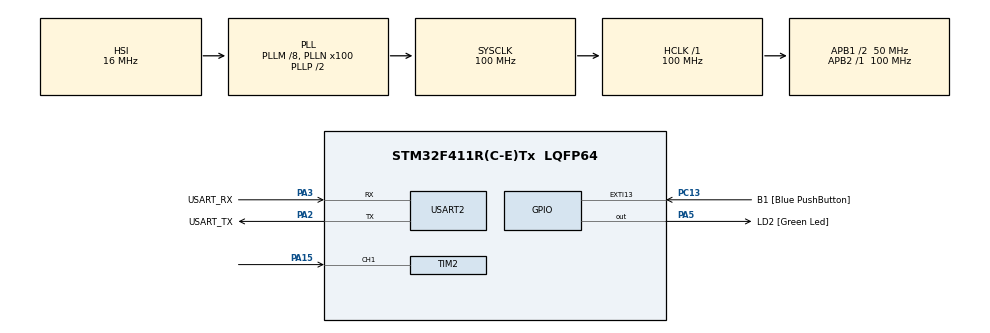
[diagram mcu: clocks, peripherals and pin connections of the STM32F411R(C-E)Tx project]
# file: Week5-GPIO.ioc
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Dma.Request0=TIM2_CH1
Dma.TIM2_CH1.0.Direction=DMA_PERIPH_TO_MEMORY
Dma.TIM2_CH1.0.FIFOMode=DMA_FIFOMODE_DISABLE
Dma.TIM2_CH1.0.Instance=DMA1_Stream5
Dma.TIM2_CH1.0.MemDataAlignment=DMA_MDATAALIGN_WORD
Dma.TIM2_CH1.0.MemInc=DMA_MINC_ENABLE
Dma.TIM2_CH1.0.Mode=DMA_CIRCULAR
Dma.TIM2_CH1.0.PeriphDataAlignment=DMA_PDATAALIGN_WORD
Dma.TIM2_CH1.0.PeriphInc=DMA_PINC_DISABLE
Dma.TIM2_CH1.0.Priority=DMA_PRIORITY_LOW
Mcu.Family=STM32F4
Mcu.Name=STM32F411R(C-E)Tx
Mcu.Package=LQFP64
NVIC.DMA1_Stream5_IRQn=true\:0\:0\:false\:false\:true\:false\:true
NVIC.PriorityGroup=NVIC_PRIORITYGROUP_0
NVIC.TIM2_IRQn=true\:0\:0\:false\:false\:true\:true\:true
NVIC.TIM5_IRQn=true\:0\:0\:false\:false\:true\:true\:true
PA13.GPIO_Label=TMS
PA13.Mode=Serial_Wire
PA13.Signal=SYS_JTMS-SWDIO
PA14.GPIO_Label=TCK
PA14.Mode=Serial_Wire
PA14.Signal=SYS_JTCK-SWCLK
PA15.Signal=S_TIM2_CH1_ETR
PA2.GPIO_Label=USART_TX
PA2.Mode=Asynchronous
PA2.Signal=USART2_TX
PA3.GPIO_Label=USART_RX
PA3.Mode=Asynchronous
PA3.Signal=USART2_RX
PA5.GPIO_Label=LD2 [Green Led]
PA5.Signal=GPIO_Output
PB3.GPIO_Label=SWO
PB3.Signal=SYS_JTDO-SWO
PC13-ANTI_TAMP.GPIO_Label=B1 [Blue PushButton]
PC13-ANTI_TAMP.GPIO_ModeDefaultEXTI=GPIO_MODE_IT_FALLING
PC13-ANTI_TAMP.Signal=GPXTI13
PC14-OSC32_IN.Mode=LSE-External-Oscillator
PC14-OSC32_IN.Signal=RCC_OSC32_IN
PC15-OSC32_OUT.Mode=LSE-External-Oscillator
PC15-OSC32_OUT.Signal=RCC_OSC32_OUT
PH0\ -\ OSC_IN.Mode=HSE-External-Clock-Source
PH0\ -\ OSC_IN.Signal=RCC_OSC_IN
PH1\ -\ OSC_OUT.Mode=HSE-External-Clock-Source
PH1\ -\ OSC_OUT.Signal=RCC_OSC_OUT
ProjectManager.HeapSize=0x200
ProjectManager.StackSize=0x400
ProjectManager.TargetToolchain=STM32CubeIDE
RCC.48MHZClocksFreq_Value=50000000
RCC.AHBFreq_Value=100000000
RCC.APB1CLKDivider=RCC_HCLK_DIV2
RCC.APB1Freq_Value=50000000
RCC.APB1TimFreq_Value=100000000
RCC.APB2Freq_Value=100000000
RCC.APB2TimFreq_Value=100000000
RCC.CortexFreq_Value=100000000
RCC.FLatency-AdvancedSettings=FLASH_LATENCY_3
RCC.HCLKFreq_Value=100000000
RCC.HSE_VALUE=8000000
RCC.HSI_VALUE=16000000
RCC.PLLM=8
RCC.PLLN=100
RCC.RCC_RTC_Clock_Source=RCC_RTCCLKSOURCE_LSI
RCC.RCC_RTC_Clock_SourceVirtual=RCC_RTCCLKSOURCE_LSI
RCC.SYSCLKFreq_VALUE=100000000
RCC.SYSCLKSource=RCC_SYSCLKSOURCE_PLLCLK
RCC.VCOOutputFreq_Value=200000000
SH.S_TIM2_CH1_ETR.0=TIM2_CH1,Input_Capture1_from_TI1
TIM1.Prescaler=99
TIM2.Channel-Input_Capture1_from_TI1=TIM_CHANNEL_1
TIM2.ICFilter_CH1=2
TIM2.Prescaler=99
TIM5.Prescaler=99
USART2.VirtualMode=VM_ASYNC
VP_TIM1_VS_ClockSourceINT.Mode=Internal
VP_TIM2_VS_ClockSourceINT.Mode=Internal
VP_TIM5_VS_ClockSourceINT.Mode=Internal
board=NUCLEO-F411RE

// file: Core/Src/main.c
/* USER CODE BEGIN Header */
/**
  ******************************************************************************
  * @file           : main.c
  * @brief          : Main program body
  ******************************************************************************
  * @attention
  *
  * <h2><center>&copy; Copyright (c) 2021 STMicroelectronics.
  * All rights reserved.</center></h2>
  *
  * This software component is licensed by ST under BSD 3-Clause license,
  * the "License"; You may not use this file except in compliance with the
  * License. You may obtain a copy of the License at:
  *                        opensource.org/licenses/BSD-3-Clause
  *
  ******************************************************************************
  */
/* USER CODE END Header */
#include "main.h"

TIM_HandleTypeDef htim1;
TIM_HandleTypeDef htim2;
TIM_HandleTypeDef htim5;
DMA_HandleTypeDef hdma_tim2_ch1;

UART_HandleTypeDef huart2;

/* USER CODE BEGIN PV */

//for microsecond measurement
uint64_t _micros = 0;

#define CAPTURENUM 16

//12 P/R , Gear reduction 1 : 64
//DMA Buffer
uint32_t capturedata[CAPTURENUM] = {0};

//diff time of capture data
int32_t DiffTime[CAPTURENUM-1] = {0};

//Mean difftime
float MeanTime = 0;

float SpeedOutput = 0;

/* USER CODE END PV */

void SystemClock_Config(void);
static void MX_GPIO_Init(void);
static void MX_DMA_Init(void);
static void MX_USART2_UART_Init(void);
static void MX_TIM1_Init(void);
static void MX_TIM2_Init(void);
static void MX_TIM5_Init(void);
/* USER CODE BEGIN PFP */

uint64_t micros();

//Read speed of encoder
void encoderSpeedReaderCycle();

/* USER CODE END PFP */

int main(void)
{

  /* MCU Configuration--------------------------------------------------------*/

  /* Reset of all peripherals, Initializes the Flash interface and the Systick. */
  HAL_Init();

  /* Configure the system clock */
  SystemClock_Config();

  /* Initialize all configured peripherals */
  MX_GPIO_Init();
  MX_DMA_Init();
  MX_USART2_UART_Init();
  MX_TIM1_Init();
  MX_TIM2_Init();
  MX_TIM5_Init();
  /* USER CODE BEGIN 2 */

  //start Microsec timer
  HAL_TIM_Base_Start_IT(&htim5);
  uint64_t timestamp = 0;

  //start Input capture in DMA
  HAL_TIM_Base_Start(&htim2);
  HAL_TIM_IC_Start_DMA(&htim2, TIM_CHANNEL_1, capturedata, CAPTURENUM);

  _micros = 0;
  /* USER CODE END 2 */

  /* Infinite loop */
  while (1)
  {

    /* USER CODE BEGIN 3 */
	 if(micros()-timestamp > 100000)
	 {
		 HAL_GPIO_TogglePin(GPIOA, GPIO_PIN_5);
		 timestamp = micros();
	 }
	 encoderSpeedReaderCycle();

	 SpeedOutput = ((1000000.0*60.0)/(768.0*MeanTime));
  }
  /* USER CODE END 3 */
}

void SystemClock_Config(void)
{
  RCC_OscInitTypeDef RCC_OscInitStruct = {0};
  RCC_ClkInitTypeDef RCC_ClkInitStruct = {0};

  /** Configure the main internal regulator output voltage
  */
  __HAL_RCC_PWR_CLK_ENABLE();
  __HAL_PWR_VOLTAGESCALING_CONFIG(PWR_REGULATOR_VOLTAGE_SCALE1);
  /** Initializes the RCC Oscillators according to the specified parameters
  * in the RCC_OscInitTypeDef structure.
  */
  RCC_OscInitStruct.OscillatorType = RCC_OSCILLATORTYPE_HSI;
  RCC_OscInitStruct.HSIState = RCC_HSI_ON;
  RCC_OscInitStruct.HSICalibrationValue = RCC_HSICALIBRATION_DEFAULT;
  RCC_OscInitStruct.PLL.PLLState = RCC_PLL_ON;
  RCC_OscInitStruct.PLL.PLLSource = RCC_PLLSOURCE_HSI;
  RCC_OscInitStruct.PLL.PLLM = 8;
  RCC_OscInitStruct.PLL.PLLN = 100;
  RCC_OscInitStruct.PLL.PLLP = RCC_PLLP_DIV2;
  RCC_OscInitStruct.PLL.PLLQ = 4;
  if (HAL_RCC_OscConfig(&RCC_OscInitStruct) != HAL_OK)
  {
    Error_Handler();
  }
  /** Initializes the CPU, AHB and APB buses clocks
  */
  RCC_ClkInitStruct.ClockType = RCC_CLOCKTYPE_HCLK|RCC_CLOCKTYPE_SYSCLK
                              |RCC_CLOCKTYPE_PCLK1|RCC_CLOCKTYPE_PCLK2;
  RCC_ClkInitStruct.SYSCLKSource = RCC_SYSCLKSOURCE_PLLCLK;
  RCC_ClkInitStruct.AHBCLKDivider = RCC_SYSCLK_DIV1;
  RCC_ClkInitStruct.APB1CLKDivider = RCC_HCLK_DIV2;
  RCC_ClkInitStruct.APB2CLKDivider = RCC_HCLK_DIV1;

  if (HAL_RCC_ClockConfig(&RCC_ClkInitStruct, FLASH_LATENCY_3) != HAL_OK)
  {
    Error_Handler();
  }
}

static void MX_TIM1_Init(void)
{

  TIM_ClockConfigTypeDef sClockSourceConfig = {0};
  TIM_MasterConfigTypeDef sMasterConfig = {0};

  htim1.Instance = TIM1;
  htim1.Init.Prescaler = 99;
  htim1.Init.CounterMode = TIM_COUNTERMODE_UP;
  htim1.Init.Period = 65535;
  htim1.Init.ClockDivision = TIM_CLOCKDIVISION_DIV1;
  htim1.Init.RepetitionCounter = 0;
  htim1.Init.AutoReloadPreload = TIM_AUTORELOAD_PRELOAD_DISABLE;
  if (HAL_TIM_Base_Init(&htim1) != HAL_OK)
  {
    Error_Handler();
  }
  sClockSourceConfig.ClockSource = TIM_CLOCKSOURCE_INTERNAL;
  if (HAL_TIM_ConfigClockSource(&htim1, &sClockSourceConfig) != HAL_OK)
  {
    Error_Handler();
  }
  sMasterConfig.MasterOutputTrigger = TIM_TRGO_RESET;
  sMasterConfig.MasterSlaveMode = TIM_MASTERSLAVEMODE_DISABLE;
  if (HAL_TIMEx_MasterConfigSynchronization(&htim1, &sMasterConfig) != HAL_OK)
  {
    Error_Handler();
  }

}

static void MX_TIM2_Init(void)
{

  TIM_ClockConfigTypeDef sClockSourceConfig = {0};
  TIM_MasterConfigTypeDef sMasterConfig = {0};
  TIM_IC_InitTypeDef sConfigIC = {0};

  htim2.Instance = TIM2;
  htim2.Init.Prescaler = 99;
  htim2.Init.CounterMode = TIM_COUNTERMODE_UP;
  htim2.Init.Period = 4294967295;
  htim2.Init.ClockDivision = TIM_CLOCKDIVISION_DIV1;
  htim2.Init.AutoReloadPreload = TIM_AUTORELOAD_PRELOAD_DISABLE;
  if (HAL_TIM_Base_Init(&htim2) != HAL_OK)
  {
    Error_Handler();
  }
  sClockSourceConfig.ClockSource = TIM_CLOCKSOURCE_INTERNAL;
  if (HAL_TIM_ConfigClockSource(&htim2, &sClockSourceConfig) != HAL_OK)
  {
    Error_Handler();
  }
  if (HAL_TIM_IC_Init(&htim2) != HAL_OK)
  {
    Error_Handler();
  }
  sMasterConfig.MasterOutputTrigger = TIM_TRGO_RESET;
  sMasterConfig.MasterSlaveMode = TIM_MASTERSLAVEMODE_DISABLE;
  if (HAL_TIMEx_MasterConfigSynchronization(&htim2, &sMasterConfig) != HAL_OK)
  {
    Error_Handler();
  }
  sConfigIC.ICPolarity = TIM_INPUTCHANNELPOLARITY_RISING;
  sConfigIC.ICSelection = TIM_ICSELECTION_DIRECTTI;
  sConfigIC.ICPrescaler = TIM_ICPSC_DIV1;
  sConfigIC.ICFilter = 2;
  if (HAL_TIM_IC_ConfigChannel(&htim2, &sConfigIC, TIM_CHANNEL_1) != HAL_OK)
  {
    Error_Handler();
  }

}

static void MX_TIM5_Init(void)
{

  TIM_ClockConfigTypeDef sClockSourceConfig = {0};
  TIM_MasterConfigTypeDef sMasterConfig = {0};

  htim5.Instance = TIM5;
  htim5.Init.Prescaler = 99;
  htim5.Init.CounterMode = TIM_COUNTERMODE_UP;
  htim5.Init.Period = 4294967295;
  htim5.Init.ClockDivision = TIM_CLOCKDIVISION_DIV1;
  htim5.Init.AutoReloadPreload = TIM_AUTORELOAD_PRELOAD_DISABLE;
  if (HAL_TIM_Base_Init(&htim5) != HAL_OK)
  {
    Error_Handler();
  }
  sClockSourceConfig.ClockSource = TIM_CLOCKSOURCE_INTERNAL;
  if (HAL_TIM_ConfigClockSource(&htim5, &sClockSourceConfig) != HAL_OK)
  {
    Error_Handler();
  }
  sMasterConfig.MasterOutputTrigger = TIM_TRGO_RESET;
  sMasterConfig.MasterSlaveMode = TIM_MASTERSLAVEMODE_DISABLE;
  if (HAL_TIMEx_MasterConfigSynchronization(&htim5, &sMasterConfig) != HAL_OK)
  {
    Error_Handler();
  }

}

static void MX_USART2_UART_Init(void)
{

  huart2.Instance = USART2;
  huart2.Init.BaudRate = 115200;
  huart2.Init.WordLength = UART_WORDLENGTH_8B;
  huart2.Init.StopBits = UART_STOPBITS_1;
  huart2.Init.Parity = UART_PARITY_NONE;
  huart2.Init.Mode = UART_MODE_TX_RX;
  huart2.Init.HwFlowCtl = UART_HWCONTROL_NONE;
  huart2.Init.OverSampling = UART_OVERSAMPLING_16;
  if (HAL_UART_Init(&huart2) != HAL_OK)
  {
    Error_Handler();
  }

}

static void MX_DMA_Init(void)
{

  /* DMA controller clock enable */
  __HAL_RCC_DMA1_CLK_ENABLE();

  /* DMA interrupt init */
  /* DMA1_Stream5_IRQn interrupt configuration */
  HAL_NVIC_SetPriority(DMA1_Stream5_IRQn, 0, 0);
  HAL_NVIC_EnableIRQ(DMA1_Stream5_IRQn);

}

static void MX_GPIO_Init(void)
{
  GPIO_InitTypeDef GPIO_InitStruct = {0};

  /* GPIO Ports Clock Enable */
  __HAL_RCC_GPIOC_CLK_ENABLE();
  __HAL_RCC_GPIOH_CLK_ENABLE();
  __HAL_RCC_GPIOA_CLK_ENABLE();
  __HAL_RCC_GPIOB_CLK_ENABLE();

  /*Configure GPIO pin Output Level */
  HAL_GPIO_WritePin(LD2_GPIO_Port, LD2_Pin, GPIO_PIN_RESET);

  /*Configure GPIO pin : B1_Pin */
  GPIO_InitStruct.Pin = B1_Pin;
  GPIO_InitStruct.Mode = GPIO_MODE_IT_FALLING;
  GPIO_InitStruct.Pull = GPIO_NOPULL;
  HAL_GPIO_Init(B1_GPIO_Port, &GPIO_InitStruct);

  /*Configure GPIO pin : LD2_Pin */
  GPIO_InitStruct.Pin = LD2_Pin;
  GPIO_InitStruct.Mode = GPIO_MODE_OUTPUT_PP;
  GPIO_InitStruct.Pull = GPIO_NOPULL;
  GPIO_InitStruct.Speed = GPIO_SPEED_FREQ_LOW;
  HAL_GPIO_Init(LD2_GPIO_Port, &GPIO_InitStruct);

}

/* USER CODE BEGIN 4 */

uint64_t micros()
{
	return _micros + htim5.Instance->CNT; //counter of timer5
}

void HAL_TIM_PeriodElapsedCallback(TIM_HandleTypeDef *htim)
{
	if(htim == &htim5)
	{
		_micros += 4294967295;
	}
}

void encoderSpeedReaderCycle()
{
	//get DMA Position form number of data
	uint32_t CapPos = CAPTURENUM - __HAL_DMA_GET_COUNTER(htim2.hdma[TIM_DMA_ID_CC1]);
	uint32_t sum = 0 ;

	//calculate diff from all buffer
	for(register int i=0 ;i < CAPTURENUM-1;i++)
	{
		DiffTime[i]  = capturedata[(CapPos+1+i)%CAPTURENUM]-capturedata[(CapPos+i)%CAPTURENUM];
		//time never go back, but timer can over flow , conpensate that
		if (DiffTime[i] <0)
		{
			DiffTime[i]+= 4294967295;
		}
		//Sum all 15 Diff
		sum += DiffTime[i];
	}
	//mean all 15 Diff
	MeanTime = sum / (float)(CAPTURENUM-1);
}

/* USER CODE END 4 */

void Error_Handler(void)
{
  __disable_irq();
  while (1)
  {
  }
}

/************************ (C) COPYRIGHT STMicroelectronics *****END OF FILE****/
